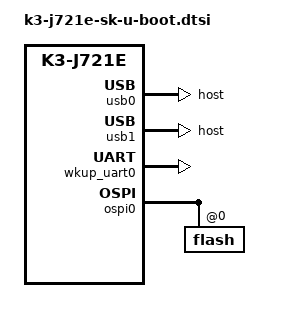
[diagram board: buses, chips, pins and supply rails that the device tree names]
// SPDX-License-Identifier: GPL-2.0
/*
 * Copyright (C) 2021 Texas Instruments Incorporated - https://www.ti.com/
 */

#include "k3-j721e-binman.dtsi"

&cbass_main {
	bootph-all;
};

&main_navss {
	bootph-all;
};

&cbass_mcu_wakeup {
	bootph-all;
};

&chipid {
	bootph-all;
};

&mcu_navss {
	bootph-all;
};

&mcu_ringacc {
	bootph-all;
};

&mcu_udmap {
	bootph-all;
};

&secure_proxy_main {
	bootph-all;
};

&dmsc {
	bootph-all;
};

&k3_pds {
	bootph-all;
};

&k3_clks {
	bootph-all;
};

&k3_reset {
	bootph-all;
};

&wkup_pmx0 {
	bootph-all;
};

&main_pmx0 {
	bootph-all;
};

&main_uart0 {
	bootph-all;
};

&mcu_uart0 {
	bootph-all;
};

&main_sdhci1 {
	bootph-all;
};

&main_uart0_pins_default {
	bootph-all;
};

&serdes_ln_ctrl {
	bootph-all;
};

&usb_serdes_mux {
	bootph-all;
};

&main_usbss0_pins_default {
	bootph-all;
};

&usbss0 {
	bootph-all;
};

&usb0 {
	dr_mode = "host";
	bootph-all;
};

&main_usbss1_pins_default {
	bootph-all;
};

&usbss1 {
	bootph-all;
};

&usb1 {
	dr_mode = "host";
	bootph-all;
};

&main_mmc1_pins_default {
	bootph-all;
};

&wkup_i2c0_pins_default {
	bootph-all;
};

&wkup_i2c0 {
	bootph-all;
};

&wkup_uart0 {
	bootph-all;
	status = "okay";
};

&mcu_fss0_ospi0_pins_default {
	bootph-all;
};

&fss {
	bootph-all;
};

&main_esm {
	bootph-all;
};

&ospi0 {
	bootph-all;

	flash@0 {
		bootph-all;
	};
};

#ifdef CONFIG_TARGET_J721E_A72_EVM

#define SPL_J721E_SK_DTB "spl/dts/ti/k3-j721e-sk.dtb"
#define J721E_SK_DTB "u-boot.dtb"

&spl_j721e_dtb {
	filename = SPL_J721E_SK_DTB;
};

&j721e_dtb {
	filename = J721E_SK_DTB;
};

&spl_j721e_dtb_unsigned {
	filename = SPL_J721E_SK_DTB;
};

&j721e_dtb_unsigned {
	filename = J721E_SK_DTB;
};

#endif
